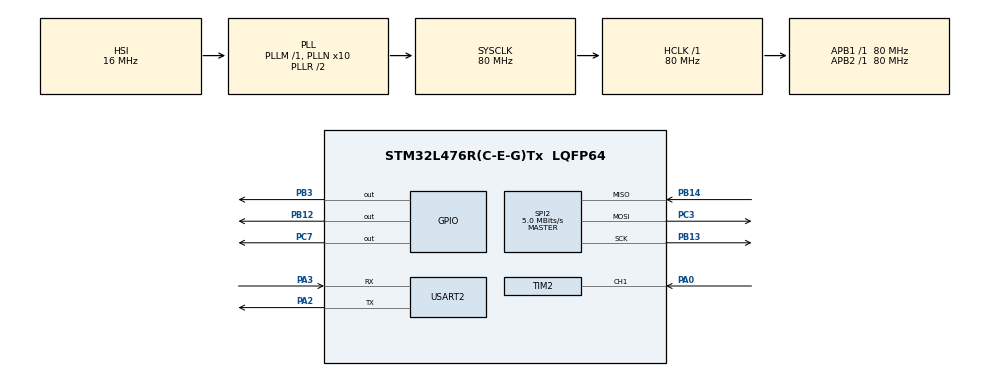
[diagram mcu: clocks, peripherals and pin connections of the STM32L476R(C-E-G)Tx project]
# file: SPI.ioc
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Mcu.Family=STM32L4
Mcu.Name=STM32L476R(C-E-G)Tx
Mcu.Package=LQFP64
NVIC.PriorityGroup=NVIC_PRIORITYGROUP_4
NVIC.TIM2_IRQn=true\:0\:0\:false\:false\:true\:true\:true\:true
PA0.Signal=S_TIM2_CH1
PA2.Mode=Asynchronous
PA2.Signal=USART2_TX
PA3.Mode=Asynchronous
PA3.Signal=USART2_RX
PB12.Signal=GPIO_Output
PB13.Mode=Full_Duplex_Master
PB13.Signal=SPI2_SCK
PB14.Mode=Full_Duplex_Master
PB14.Signal=SPI2_MISO
PB3\ (JTDO-TRACESWO).Signal=GPIO_Output
PC3.Mode=Full_Duplex_Master
PC3.Signal=SPI2_MOSI
PC7.Signal=GPIO_Output
ProjectManager.HeapSize=0x200
ProjectManager.StackSize=0x400
ProjectManager.TargetToolchain=STM32CubeIDE
RCC.ADCFreq_Value=64000000
RCC.AHBFreq_Value=80000000
RCC.APB1Freq_Value=80000000
RCC.APB1TimFreq_Value=80000000
RCC.APB2Freq_Value=80000000
RCC.APB2TimFreq_Value=80000000
RCC.CortexFreq_Value=80000000
RCC.HCLKFreq_Value=80000000
RCC.HSE_VALUE=8000000
RCC.HSI_VALUE=16000000
RCC.LSE_VALUE=32768
RCC.MSI_VALUE=4000000
RCC.PLLN=10
RCC.PLLSourceVirtual=RCC_PLLSOURCE_HSI
RCC.PREFETCH_ENABLE=1
RCC.SYSCLKFreq_VALUE=80000000
RCC.SYSCLKSource=RCC_SYSCLKSOURCE_PLLCLK
RCC.USBFreq_Value=64000000
RCC.VCOOutputFreq_Value=160000000
SH.S_TIM2_CH1.0=TIM2_CH1,Input_Capture1_from_TI1
SPI2.BaudRatePrescaler=SPI_BAUDRATEPRESCALER_16
SPI2.CLKPhase=SPI_PHASE_2EDGE
SPI2.CLKPolarity=SPI_POLARITY_HIGH
SPI2.CalculateBaudRate=5.0 MBits/s
SPI2.DataSize=SPI_DATASIZE_8BIT
SPI2.Direction=SPI_DIRECTION_2LINES
SPI2.Mode=SPI_MODE_MASTER
SPI2.VirtualType=VM_MASTER
TIM2.Channel-Input_Capture1_from_TI1=TIM_CHANNEL_1
USART2.VirtualMode-Asynchronous=VM_ASYNC
VP_TIM2_VS_ClockSourceINT.Mode=Internal
VP_TIM6_VS_ClockSourceINT.Mode=Enable_Timer
board=NUCLEO-L476RG

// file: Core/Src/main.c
/* USER CODE BEGIN Header */
/**
  ******************************************************************************
  * @file           : main.c
  * @brief          : Main program body
  ******************************************************************************
  * @attention
  *
  * Copyright (c) 2026 STMicroelectronics.
  * All rights reserved.
  *
  * This software is licensed under terms that can be found in the LICENSE file
  * in the root directory of this software component.
  * If no LICENSE file comes with this software, it is provided AS-IS.
  *
  ******************************************************************************
  */
/* USER CODE END Header */
#include "main.h"

/* USER CODE BEGIN Includes */

#include <stdio.h>
#include<math.h>

/* USER CODE END Includes */

SPI_HandleTypeDef hspi2;

TIM_HandleTypeDef htim2;
TIM_HandleTypeDef htim6;

UART_HandleTypeDef huart2;

/* USER CODE BEGIN PV */

#define SPI_Read_Bit		0x80

#define SPI_Write_Bit		0x7F

#define CS_LOW()			HAL_GPIO_WritePin(GPIOB, GPIO_PIN_12, GPIO_PIN_RESET);
#define CS_HIGH()			HAL_GPIO_WritePin(GPIOB, GPIO_PIN_12, GPIO_PIN_SET);

#define WHOAMI				0x0F
#define CTRL1				0x10

int16_t az_raw;
int16_t ay_raw;
int16_t ax_raw;

float az_conv;
float ay_conv;
float ax_conv;

float az_bias;
float ay_bias;
float ax_bias;

float az;
float ax;
float ay;

int16_t gx_raw;
int16_t gy_raw;
int16_t gz_raw;

float gx_conv;
float gy_conv;
float gz_conv;

float gx_bias = 0;
float gy_bias = 0;
float gz_bias = 0;

float gx;
float gy;
float gz;

uint32_t last_time = 0;
float angle;
float dt;

int turn_done = 0;

char msg[20] = "Turn performed";

#define OUT_Z_L_A 			0x28

#define CTRL2				0x11

#define CTRL3 				0x12

#define CTRL6				0x15

#define CTRL8				0x17

volatile uint8_t firstEdgeCaptured = 0;

volatile uint8_t lastEdgeCaptured = 0;

volatile uint8_t measurementReady = 0;

uint32_t IC_Value1 = 0;

uint32_t IC_Value2 = 0;

uint32_t time = 0;

float distance = 0;

static uint8_t imu_active = 0;

/* USER CODE END PV */

void SystemClock_Config(void);
static void MX_GPIO_Init(void);
static void MX_USART2_UART_Init(void);
static void MX_SPI2_Init(void);
static void MX_TIM2_Init(void);
static void MX_TIM6_Init(void);
/* USER CODE BEGIN PFP */

void SPI_Read_Reg(uint8_t reg, char * name);

void SPI_Write_Reg(uint8_t reg, uint8_t data);

void Read_Accelerometer(int16_t *az_raw, int16_t *ay_raw, int16_t *ax_raw);

void Accelerometer_Conversion(void);

void Accelerometer_Calibration(float *az, float *ay, float *ax);

void Accelerometer_Bias_Offset(void);

void Read_Gyroscope(int16_t *gx_raw, int16_t *gy_raw, int16_t *gz_raw);

void Gyroscope_Conversion(void);

void Read_Gyroscope_Calibration(float *gx, float *gy, float *gz);

void Gyroscope_Bias_Offset(void);

void Turn_on_Gyroscope();

void Delay_us(uint16_t us);

void IMU_On();

void IMU_Off();

/* USER CODE END PFP */

int main(void)
{

  /* MCU Configuration--------------------------------------------------------*/

  /* Reset of all peripherals, Initializes the Flash interface and the Systick. */
  HAL_Init();

  /* Configure the system clock */
  SystemClock_Config();

  /* Initialize all configured peripherals */
  MX_GPIO_Init();
  MX_USART2_UART_Init();
  MX_SPI2_Init();
  MX_TIM2_Init();
  MX_TIM6_Init();
  /* USER CODE BEGIN 2 */

  HAL_TIM_Base_Start(&htim6);

  HAL_TIM_IC_Start_IT(&htim2, TIM_CHANNEL_1);

  SPI_Read_Reg(WHOAMI, "Whoami");

//  SPI_Write_Reg(CTRL1, 0x09);  // This configures the accelerometer register to work at high performance mode and under  a frequency of 960Hz

  SPI_Write_Reg(CTRL3, 0x44); //BDU + IF_INC - This will apply to both the Accelerometer and the Gyroscope... there will not be a need to re-do it again

//  SPI_Write_Reg(CTRL8, 0x00); // This is setting the full scale(FS) for the accelerometer only
//
//  SPI_Read_Reg(CTRL1, "Accelerometer");
//
//  SPI_Write_Reg(CTRL2, 0x09);  // This configures the Gyroscope register to work at high performance mode and under  a frequency of 960Hz(Is waht actually turn on the sensor)
//
//
//  SPI_Write_Reg(CTRL6, 0x00); //Configuring the LPF and the Full Scale for the gyroscope(to 125dps)

  HAL_Delay(1000);

  last_time = HAL_GetTick();

  IMU_On();

  Gyroscope_Bias_Offset();

  Accelerometer_Bias_Offset();

  IMU_Off();

  /* USER CODE END 2 */

  /* Infinite loop */
  while (1)
  {

    /* USER CODE BEGIN 3 */
//	  Read_Accelerometer(&az_raw, &ay_raw, &ax_raw);

//	  Accelerometer_Conversion();

//	  Read_Gyroscope();

//	  Gyroscope_Conversion();

//	  Accelerometer_Conversion();

//	   I want to trigger the Ultrasonic sensor

	  HAL_GPIO_WritePin(GPIOB, GPIO_PIN_3, GPIO_PIN_RESET);
	  Delay_us(2);

	  HAL_GPIO_WritePin(GPIOB, GPIO_PIN_3, GPIO_PIN_SET);
	  Delay_us(10);

	  HAL_GPIO_WritePin(GPIOB, GPIO_PIN_3, GPIO_PIN_RESET);

	  if(measurementReady){
		  measurementReady = 0;

		  time = IC_Value2 - IC_Value1; //Each timer tick is in microseconds...and therefore, the time difference is in microseconds

		  distance = time * 0.034 / 2;

	  		 char msg2[20];

	  		 int len = snprintf(msg2, sizeof(msg2), "Distance: %.2f\n\r", distance);

	  		 HAL_UART_Transmit(&huart2, (uint8_t *)msg2, len, HAL_MAX_DELAY);

	  		 HAL_Delay(500);

	  }

	  if(distance < 20){

		  if(!imu_active){
		        IMU_On();
		        last_time = HAL_GetTick();  // reset timing
		        imu_active = 1;
		    }

		  Turn_on_Gyroscope();

		  		 char msg1[20];

		  		 int len = snprintf(msg1, sizeof(msg1), "Angle: %.2f\n\r", angle);

		  		 HAL_UART_Transmit(&huart2, (uint8_t *)msg1, len, HAL_MAX_DELAY);

		  		 HAL_Delay(500);

		  	  if(fabs(angle) >= 90  && !turn_done){
		  		  HAL_UART_Transmit(&huart2, (uint8_t *)msg, 20, HAL_MAX_DELAY);
		  		  angle = 0;
		  		  turn_done = 1;
		  	  }

		  	  if (turn_done) {
		  	      HAL_Delay(2000);   // wait 2 seconds (or any time)

		  	      angle = 0;
		  	      turn_done = 0;

		  	      // 🔥 VERY IMPORTANT: reset timing
		  	      last_time = HAL_GetTick();
		  	  }

		  	  HAL_Delay(5);

	  }

	  else{
		    if(imu_active){
		        IMU_Off();

		        angle = 0;
		        imu_active = 0;

		        last_time = HAL_GetTick();
		    }
	  }

  }
  /* USER CODE END 3 */
}

void SystemClock_Config(void)
{
  RCC_OscInitTypeDef RCC_OscInitStruct = {0};
  RCC_ClkInitTypeDef RCC_ClkInitStruct = {0};

  /** Configure the main internal regulator output voltage
  */
  if (HAL_PWREx_ControlVoltageScaling(PWR_REGULATOR_VOLTAGE_SCALE1) != HAL_OK)
  {
    Error_Handler();
  }

  /** Initializes the RCC Oscillators according to the specified parameters
  * in the RCC_OscInitTypeDef structure.
  */
  RCC_OscInitStruct.OscillatorType = RCC_OSCILLATORTYPE_HSI;
  RCC_OscInitStruct.HSIState = RCC_HSI_ON;
  RCC_OscInitStruct.HSICalibrationValue = RCC_HSICALIBRATION_DEFAULT;
  RCC_OscInitStruct.PLL.PLLState = RCC_PLL_ON;
  RCC_OscInitStruct.PLL.PLLSource = RCC_PLLSOURCE_HSI;
  RCC_OscInitStruct.PLL.PLLM = 1;
  RCC_OscInitStruct.PLL.PLLN = 10;
  RCC_OscInitStruct.PLL.PLLP = RCC_PLLP_DIV7;
  RCC_OscInitStruct.PLL.PLLQ = RCC_PLLQ_DIV2;
  RCC_OscInitStruct.PLL.PLLR = RCC_PLLR_DIV2;
  if (HAL_RCC_OscConfig(&RCC_OscInitStruct) != HAL_OK)
  {
    Error_Handler();
  }

  /** Initializes the CPU, AHB and APB buses clocks
  */
  RCC_ClkInitStruct.ClockType = RCC_CLOCKTYPE_HCLK|RCC_CLOCKTYPE_SYSCLK
                              |RCC_CLOCKTYPE_PCLK1|RCC_CLOCKTYPE_PCLK2;
  RCC_ClkInitStruct.SYSCLKSource = RCC_SYSCLKSOURCE_PLLCLK;
  RCC_ClkInitStruct.AHBCLKDivider = RCC_SYSCLK_DIV1;
  RCC_ClkInitStruct.APB1CLKDivider = RCC_HCLK_DIV1;
  RCC_ClkInitStruct.APB2CLKDivider = RCC_HCLK_DIV1;

  if (HAL_RCC_ClockConfig(&RCC_ClkInitStruct, FLASH_LATENCY_4) != HAL_OK)
  {
    Error_Handler();
  }
}

static void MX_SPI2_Init(void)
{

  /* SPI2 parameter configuration*/
  hspi2.Instance = SPI2;
  hspi2.Init.Mode = SPI_MODE_MASTER;
  hspi2.Init.Direction = SPI_DIRECTION_2LINES;
  hspi2.Init.DataSize = SPI_DATASIZE_8BIT;
  hspi2.Init.CLKPolarity = SPI_POLARITY_HIGH;
  hspi2.Init.CLKPhase = SPI_PHASE_2EDGE;
  hspi2.Init.NSS = SPI_NSS_SOFT;
  hspi2.Init.BaudRatePrescaler = SPI_BAUDRATEPRESCALER_16;
  hspi2.Init.FirstBit = SPI_FIRSTBIT_MSB;
  hspi2.Init.TIMode = SPI_TIMODE_DISABLE;
  hspi2.Init.CRCCalculation = SPI_CRCCALCULATION_DISABLE;
  hspi2.Init.CRCPolynomial = 7;
  hspi2.Init.CRCLength = SPI_CRC_LENGTH_DATASIZE;
  hspi2.Init.NSSPMode = SPI_NSS_PULSE_DISABLE;
  if (HAL_SPI_Init(&hspi2) != HAL_OK)
  {
    Error_Handler();
  }

}

static void MX_TIM2_Init(void)
{

  TIM_ClockConfigTypeDef sClockSourceConfig = {0};
  TIM_MasterConfigTypeDef sMasterConfig = {0};
  TIM_IC_InitTypeDef sConfigIC = {0};

  htim2.Instance = TIM2;
  htim2.Init.Prescaler = 79;
  htim2.Init.CounterMode = TIM_COUNTERMODE_UP;
  htim2.Init.Period = 4294967295;
  htim2.Init.ClockDivision = TIM_CLOCKDIVISION_DIV1;
  htim2.Init.AutoReloadPreload = TIM_AUTORELOAD_PRELOAD_DISABLE;
  if (HAL_TIM_Base_Init(&htim2) != HAL_OK)
  {
    Error_Handler();
  }
  sClockSourceConfig.ClockSource = TIM_CLOCKSOURCE_INTERNAL;
  if (HAL_TIM_ConfigClockSource(&htim2, &sClockSourceConfig) != HAL_OK)
  {
    Error_Handler();
  }
  if (HAL_TIM_IC_Init(&htim2) != HAL_OK)
  {
    Error_Handler();
  }
  sMasterConfig.MasterOutputTrigger = TIM_TRGO_RESET;
  sMasterConfig.MasterSlaveMode = TIM_MASTERSLAVEMODE_DISABLE;
  if (HAL_TIMEx_MasterConfigSynchronization(&htim2, &sMasterConfig) != HAL_OK)
  {
    Error_Handler();
  }
  sConfigIC.ICPolarity = TIM_INPUTCHANNELPOLARITY_RISING;
  sConfigIC.ICSelection = TIM_ICSELECTION_DIRECTTI;
  sConfigIC.ICPrescaler = TIM_ICPSC_DIV1;
  sConfigIC.ICFilter = 0;
  if (HAL_TIM_IC_ConfigChannel(&htim2, &sConfigIC, TIM_CHANNEL_1) != HAL_OK)
  {
    Error_Handler();
  }

}

static void MX_TIM6_Init(void)
{

  TIM_MasterConfigTypeDef sMasterConfig = {0};

  htim6.Instance = TIM6;
  htim6.Init.Prescaler = 79;
  htim6.Init.CounterMode = TIM_COUNTERMODE_UP;
  htim6.Init.Period = 999;
  htim6.Init.AutoReloadPreload = TIM_AUTORELOAD_PRELOAD_DISABLE;
  if (HAL_TIM_Base_Init(&htim6) != HAL_OK)
  {
    Error_Handler();
  }
  sMasterConfig.MasterOutputTrigger = TIM_TRGO_RESET;
  sMasterConfig.MasterSlaveMode = TIM_MASTERSLAVEMODE_DISABLE;
  if (HAL_TIMEx_MasterConfigSynchronization(&htim6, &sMasterConfig) != HAL_OK)
  {
    Error_Handler();
  }

}

static void MX_USART2_UART_Init(void)
{

  huart2.Instance = USART2;
  huart2.Init.BaudRate = 115200;
  huart2.Init.WordLength = UART_WORDLENGTH_8B;
  huart2.Init.StopBits = UART_STOPBITS_1;
  huart2.Init.Parity = UART_PARITY_NONE;
  huart2.Init.Mode = UART_MODE_TX_RX;
  huart2.Init.HwFlowCtl = UART_HWCONTROL_NONE;
  huart2.Init.OverSampling = UART_OVERSAMPLING_16;
  huart2.Init.OneBitSampling = UART_ONE_BIT_SAMPLE_DISABLE;
  huart2.AdvancedInit.AdvFeatureInit = UART_ADVFEATURE_NO_INIT;
  if (HAL_UART_Init(&huart2) != HAL_OK)
  {
    Error_Handler();
  }

}

static void MX_GPIO_Init(void)
{
  GPIO_InitTypeDef GPIO_InitStruct = {0};

  /* GPIO Ports Clock Enable */
  __HAL_RCC_GPIOC_CLK_ENABLE();
  __HAL_RCC_GPIOA_CLK_ENABLE();
  __HAL_RCC_GPIOB_CLK_ENABLE();

  /*Configure GPIO pin Output Level */
  HAL_GPIO_WritePin(GPIOB, GPIO_PIN_12|GPIO_PIN_3, GPIO_PIN_RESET);

  /*Configure GPIO pin Output Level */
  HAL_GPIO_WritePin(GPIOC, GPIO_PIN_7, GPIO_PIN_RESET);

  /*Configure GPIO pins : PB12 PB3 */
  GPIO_InitStruct.Pin = GPIO_PIN_12|GPIO_PIN_3;
  GPIO_InitStruct.Mode = GPIO_MODE_OUTPUT_PP;
  GPIO_InitStruct.Pull = GPIO_NOPULL;
  GPIO_InitStruct.Speed = GPIO_SPEED_FREQ_LOW;
  HAL_GPIO_Init(GPIOB, &GPIO_InitStruct);

  /*Configure GPIO pin : PC7 */
  GPIO_InitStruct.Pin = GPIO_PIN_7;
  GPIO_InitStruct.Mode = GPIO_MODE_OUTPUT_PP;
  GPIO_InitStruct.Pull = GPIO_NOPULL;
  GPIO_InitStruct.Speed = GPIO_SPEED_FREQ_LOW;
  HAL_GPIO_Init(GPIOC, &GPIO_InitStruct);

}

/* USER CODE BEGIN 4 */

void SPI_Read_Reg(uint8_t reg, char * name){
	  uint8_t tx_data[2];
	  uint8_t rx_data[2];

	  tx_data[0] = reg | SPI_Read_Bit;
	  tx_data[1] = 0x00;

	  CS_LOW();

	  HAL_SPI_TransmitReceive(&hspi2, tx_data, rx_data, 2, HAL_MAX_DELAY);

	  CS_HIGH();

	  uint8_t whoami = rx_data[1];

	  char msg[64];

	  int len = snprintf(msg, sizeof(msg), "The %s Register Value : 0x%02X", name, whoami);

	  HAL_UART_Transmit(&huart2, (uint8_t *)msg, len, HAL_MAX_DELAY);

}

void SPI_Write_Reg(uint8_t reg, uint8_t data){

	uint8_t tx_data[2];

	tx_data[0] = reg & SPI_Write_Bit;
	tx_data[1] = data;

	CS_LOW();

	HAL_SPI_Transmit(&hspi2, tx_data, 2, HAL_MAX_DELAY);

	CS_HIGH();
}

void Read_Accelerometer(int16_t *az_raw, int16_t *ay_raw, int16_t *ax_raw){
	uint8_t tx[7] = {0};

	uint8_t rx[7] = {0};

	tx[0] = 0x28 | SPI_Read_Bit;

	tx[1] = 0x00;

	CS_LOW();

	HAL_SPI_TransmitReceive(&hspi2, tx, rx, 7, HAL_MAX_DELAY);

	CS_HIGH();

	 * az_raw = (int16_t)((rx[2] << 8) | rx[1]);

	 * ay_raw = (int16_t)((rx[4] << 8) | rx[3]);

	 * ax_raw = (int16_t)((rx[6] << 8) | rx[5]);

	 //Sensor values are normally read in integers.. but you should always convert them to -
	 //	 - float before you do further operations in order not to loose data

//	 char msg[90];
//
//	 int len = snprintf(msg, sizeof(msg), "\n\r az_raw : %d\n\r  ay_raw : %d\n\r ax_raw : %d\n\r ", *az_raw, *ay_raw, *ax_raw);
//
//	 HAL_UART_Transmit(&huart2, (uint8_t *)msg, len, HAL_MAX_DELAY);
}

void Accelerometer_Bias_Offset(void){

	int32_t az_offset = 0;
	int32_t ay_offset = 0;
	int32_t ax_offset = 0;

	int sample = 500;

	for(int i = 0; i < sample; i++){
		Read_Accelerometer(&az_raw, &ay_raw, &ax_raw);

		az_offset += az_raw;
		ay_offset += ay_raw;
		ax_offset += ax_raw;

		HAL_Delay(2);
	}

	az_bias = az_offset / sample;
	ay_bias = ay_offset / sample;
	ax_bias = ax_offset / sample;

}

void Accelerometer_Calibration(float *az, float *ay, float *ax){
	Read_Accelerometer(&az_raw, &ay_raw, &ax_raw);

	*az = az_raw - az_bias + 16384.0f;
	*ay = ay_raw - ay_bias;  // az_bias is float and forces az_raw to be float too... therefore float always dominates!
	*ax = ax_raw - ax_bias;

}

void Accelerometer_Conversion(void){
	Accelerometer_Calibration(&az, &ay, &ax);

	az_conv = az * 0.000061;

	ay_conv = ay * 0.000061;

	ax_conv = ax * 0.000061;

	char msg[90];

	int len = snprintf(msg, sizeof(msg), "\n\r az_conv : %.2f\n\r  ay_conv : %.2f\n\r ax_conv : %.2f\n\r ", az_conv, ay_conv, ax_conv);

	HAL_UART_Transmit(&huart2, (uint8_t *)msg, len, HAL_MAX_DELAY);
}

void Read_Gyroscope(int16_t *gx_raw, int16_t *gy_raw, int16_t *gz_raw){
	uint8_t tx[7] = {0};

	uint8_t rx[7] = {0};

	tx[0] = 0x22 | SPI_Read_Bit;
	tx[1] = 0x00;

	CS_LOW();

	HAL_SPI_TransmitReceive(&hspi2, tx, rx, 7, HAL_MAX_DELAY);

	CS_HIGH();

	 *gx_raw = (int16_t)(rx[2] << 8 | rx[1]);
	 *gy_raw = (int16_t)(rx[4] << 8 | rx[3]);
	 *gz_raw = (int16_t)(rx[6] << 8 | rx[5]);

}

void Gyroscope_Bias_Offset(void){

	int sample = 500;

	int32_t gx_offset = 0;
	int32_t gy_offset = 0;
	int32_t gz_offset = 0;

	for(int i = 0; i < sample; i++){
		Read_Gyroscope(&gx_raw, &gy_raw, &gz_raw);

		gx_offset += gx_raw;
		gy_offset += gy_raw;
		gz_offset += gz_raw;

		HAL_Delay(2);

	}

	gx_bias = gx_offset / sample;
	gy_bias = gy_offset / sample;
	gz_bias = gz_offset / sample;

	}

void Read_Gyroscope_Calibration(float *gx, float *gy, float *gz){

	Read_Gyroscope(&gx_raw, &gy_raw, &gz_raw);

	*gx = gx_raw - gx_bias;
	*gy = gy_raw - gy_bias;
	*gz = gz_raw - gz_bias;

}

void Gyroscope_Conversion(void){
	Read_Gyroscope_Calibration(&gx, &gy, &gz);

	gx_conv = gx * 0.004375;
	gy_conv = gy * 0.004375;
	gz_conv = gz * 0.004375;

}

void Turn_on_Gyroscope(){

	uint32_t now = HAL_GetTick();
	dt = (now - last_time) / 1000.0f;
	last_time = now;

	Read_Gyroscope_Calibration(&gx, &gy, &gz);

	gz_conv = gz * 0.004375;

	 if (fabs(gz_conv) < 0.5f) {
	        gz_conv = 0;
	    }

	static float gz_filtered = 0;

	gz_filtered = 0.7f * gz_filtered + 0.3f * gz_conv;

	if(!turn_done){  // Limits this function to only perform the intergration if the turn is not done
		angle +=  gz_filtered* dt;

	}

}

void Delay_us(uint16_t us){  // The goodness with this timing function is that it will help us to implement the delays in microseconds
	__HAL_TIM_SET_COUNTER(&htim6, 0);
	while(__HAL_TIM_GET_COUNTER(&htim6) < us);
}

void HAL_TIM_IC_CaptureCallback(TIM_HandleTypeDef *htim)
{
  /* Prevent unused argument(s) compilation warning */
  UNUSED(htim);

  /* NOTE : This function should not be modified, when the callback is needed,
            the HAL_TIM_IC_CaptureCallback could be implemented in the user file
   */

  if(htim->Instance == TIM2 && htim->Channel == HAL_TIM_ACTIVE_CHANNEL_1){

	  HAL_GPIO_TogglePin(GPIOC, GPIO_PIN_7);

	  if(firstEdgeCaptured == 0){
		  IC_Value1 = HAL_TIM_ReadCapturedValue(&htim2, TIM_CHANNEL_1);

		  firstEdgeCaptured = 1;

		  __HAL_TIM_SET_CAPTUREPOLARITY(&htim2, TIM_CHANNEL_1, TIM_INPUTCHANNELPOLARITY_FALLING);
	  }

	  else {
		  IC_Value2 = HAL_TIM_ReadCapturedValue(&htim2, TIM_CHANNEL_1);

		  firstEdgeCaptured = 0;

		  measurementReady = 1;

		  __HAL_TIM_SET_CAPTUREPOLARITY(&htim2, TIM_CHANNEL_1, TIM_INPUTCHANNELPOLARITY_RISING);

	  }

  }
}

void IMU_On(){
	  SPI_Write_Reg(CTRL1, 0x09); // This configures the accelerometer register to work at high performance mode and under  a frequency of 960Hz
	  SPI_Write_Reg(CTRL8, 0x00); // This is setting the full scale(FS) for the accelerometer only

	  SPI_Write_Reg(CTRL2, 0x09);  // This configures the Gyroscope register to work at high performance mode and under  a frequency of 960Hz(Is waht actually turn on the sensor)
	  SPI_Write_Reg(CTRL6, 0x00); //Configuring the LPF and the Full Scale for the gyroscope(to 125dps)

}

void IMU_Off(){
	  SPI_Write_Reg(CTRL1, 0x00);
	  SPI_Write_Reg(CTRL2, 0x00);
}

/* USER CODE END 4 */

void Error_Handler(void)
{
  __disable_irq();
  while (1)
  {
  }
}
